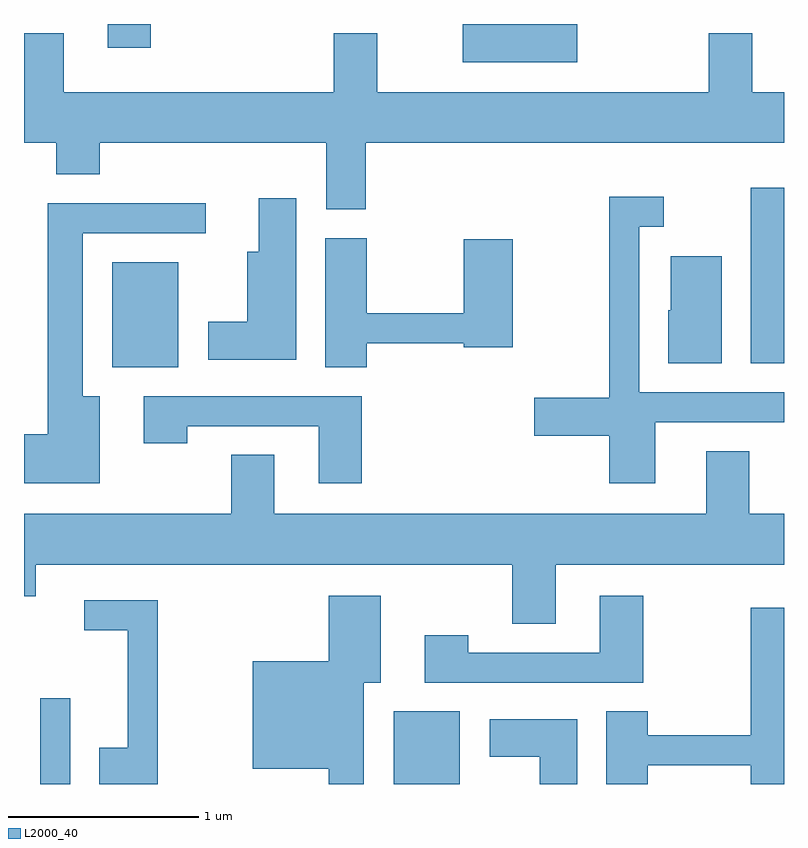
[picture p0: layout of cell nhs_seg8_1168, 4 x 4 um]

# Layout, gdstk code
import gdstk
lib = gdstk.Library(unit=1e-6, precision=1e-09)
def R(c, l, rs):  # rectangles x0, y0, x1, y1
    for r in rs: c.add(gdstk.rectangle(r[:2], r[2:], *l))
def P(c, l, *ps):  # polygons
    for p in ps: c.add(gdstk.Polygon(p, *l))
L2000_40 = (2000, 40)

nhs_seg8_1168 = lib.new_cell('nhs_seg8_1168')
R(nhs_seg8_1168, L2000_40, [(219.696,1866.342,219.854,1866.793), (221.556,1866.342,221.904,1866.724), (220.076,1868.536,220.424,1869.089), (223.436,1868.556,223.611,1869.479), (221.921,1870.141,222.524,1870.342), (220.051,1870.216,220.279,1870.342)])
P(nhs_seg8_1168, L2000_40, [(221.409,1869.716),(223.611,1869.716),(223.611,1869.984),(223.444,1869.984),(223.444,1870.294),(223.216,1870.294),(223.216,1869.984),(221.469,1869.984),(221.469,1870.294),(221.241,1870.294),(221.241,1869.984),(219.819,1869.984),(219.819,1870.294),(219.611,1870.294),(219.611,1869.716),(219.781,1869.716),(219.781,1869.551),(220.009,1869.551),(220.009,1869.716),(221.201,1869.716),(221.201,1869.366),(221.409,1869.366)],
  [(222.934,1868.246),(223.611,1868.246),(223.611,1868.404),(222.849,1868.404),(222.849,1869.276),(222.978,1869.276),(222.978,1869.434),(222.691,1869.434),(222.691,1868.374),(222.296,1868.374),(222.296,1868.176),(222.691,1868.176),(222.691,1867.926),(222.934,1867.926)],
  [(221.044,1869.424),(220.846,1869.424),(220.846,1869.144),(220.786,1869.144),(220.786,1868.774),(220.581,1868.774),(220.581,1868.576),(221.044,1868.576)],
  [(220.009,1868.384),(219.919,1868.384),(219.919,1869.241),(220.568,1869.241),(220.568,1869.399),(219.736,1869.399),(219.736,1868.184),(219.611,1868.184),(219.611,1867.926),(220.009,1867.926)],
  [(221.414,1868.661),(221.926,1868.661),(221.926,1868.641),(222.184,1868.641),(222.184,1869.209),(221.926,1869.209),(221.926,1868.819),(221.414,1868.819),(221.414,1869.214),(221.196,1869.214),(221.196,1868.536),(221.414,1868.536)],
  [(223.284,1869.119),(223.016,1869.119),(223.016,1868.835),(223.001,1868.835),(223.001,1868.556),(223.284,1868.556)],
  [(221.389,1868.384),(220.241,1868.384),(220.241,1868.136),(220.469,1868.136),(220.469,1868.226),(221.161,1868.226),(221.161,1867.926),(221.389,1867.926)],
  [(220.701,1868.074),(220.701,1867.764),(219.611,1867.764),(219.611,1867.331),(219.674,1867.331),(219.674,1867.496),(222.181,1867.496),(222.181,1867.186),(222.409,1867.186),(222.409,1867.496),(223.611,1867.496),(223.611,1867.764),(223.429,1867.764),(223.429,1868.094),(223.201,1868.094),(223.201,1867.764),(220.929,1867.764),(220.929,1868.074)],
  [(222.869,1867.334),(222.641,1867.334),(222.641,1867.034),(221.949,1867.034),(221.949,1867.124),(221.721,1867.124),(221.721,1866.876),(222.869,1866.876)],
  [(221.399,1866.876),(221.489,1866.876),(221.489,1867.334),(221.216,1867.334),(221.216,1866.989),(220.816,1866.989),(220.816,1866.421),(221.216,1866.421),(221.216,1866.342),(221.399,1866.342)],
  [(220.314,1867.309),(219.928,1867.309),(219.928,1867.151),(220.156,1867.151),(220.156,1866.534),(220.006,1866.534),(220.006,1866.342),(220.314,1866.342)],
  [(222.894,1866.441),(223.436,1866.441),(223.436,1866.342),(223.611,1866.342),(223.611,1867.269),(223.436,1867.269),(223.436,1866.599),(222.894,1866.599),(222.894,1866.724),(222.676,1866.724),(222.676,1866.342),(222.894,1866.342)],
  [(222.524,1866.684),(222.061,1866.684),(222.061,1866.486),(222.326,1866.486),(222.326,1866.342),(222.524,1866.342)])

lib.write_gds('nhs_seg8_1168.gds')
